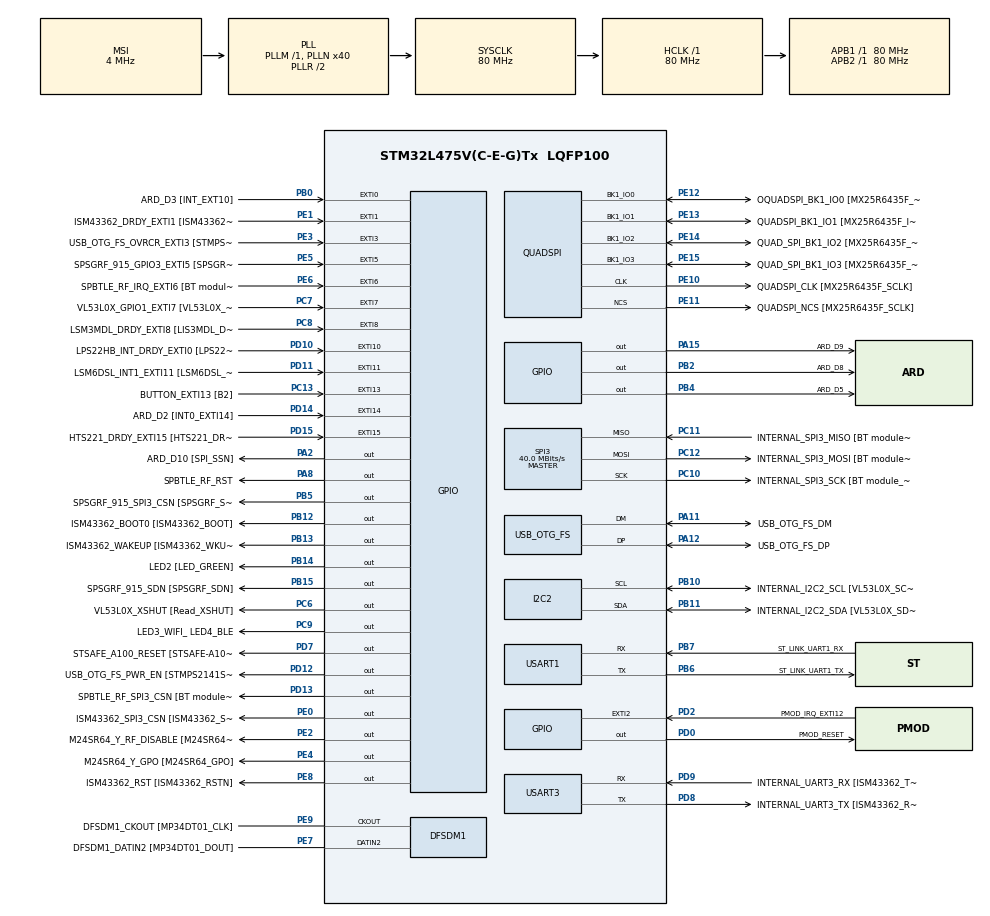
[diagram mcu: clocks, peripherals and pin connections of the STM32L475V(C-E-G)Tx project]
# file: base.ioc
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FREERTOS.Tasks01=defaultTask,24,128,StartDefaultTask,Default,NULL,Dynamic,NULL,NULL
Mcu.Family=STM32L4
Mcu.Name=STM32L475V(C-E-G)Tx
Mcu.Package=LQFP100
NVIC.EXTI15_10_IRQn=true\:0\:0\:false\:false\:true\:false\:true\:true
NVIC.EXTI9_5_IRQn=true\:0\:0\:false\:false\:true\:false\:true\:true
NVIC.PriorityGroup=NVIC_PRIORITYGROUP_4
PA0.GPIO_Label=ARD_D1 [UART4_TX]
PA0.Signal=UART4_TX
PA1.GPIO_Label=ARD_D0 [UART4_RX]
PA1.Signal=UART4_RX
PA10.GPIO_Label=USB_OTG_FS_ID
PA10.Signal=USB_OTG_FS_ID
PA11.GPIO_Label=USB_OTG_FS_DM
PA11.Mode=Device_Only
PA11.Signal=USB_OTG_FS_DM
PA12.GPIO_Label=USB_OTG_FS_DP
PA12.Mode=Device_Only
PA12.Signal=USB_OTG_FS_DP
PA13\ (JTMS-SWDIO).GPIO_Label=SYS_JTMS_SWDIO
PA13\ (JTMS-SWDIO).Mode=Serial_Wire
PA13\ (JTMS-SWDIO).Signal=SYS_JTMS-SWDIO
PA14\ (JTCK-SWCLK).GPIO_Label=SYS_JTCK_SWCLK
PA14\ (JTCK-SWCLK).Mode=Serial_Wire
PA14\ (JTCK-SWCLK).Signal=SYS_JTCK-SWCLK
PA15\ (JTDI).GPIO_Label=ARD_D9
PA15\ (JTDI).Signal=GPIO_Output
PA2.GPIO_Label=ARD_D10 [SPI_SSN]
PA2.Signal=GPIO_Output
PA3.GPIO_Label=ARD_D4
PA3.Signal=S_TIM2_CH4
PA4.GPIO_Label=ARD_D7
PA4.Signal=ADCx_IN9
PA5.GPIO_Label=ARD_D13 [SPI1_SCK]
PA5.Signal=SPI1_SCK
PA6.GPIO_Label=ARD_D12 [SPI1_MISO]
PA6.Signal=SPI1_MISO
PA7.GPIO_Label=ARD_D11 [SPI1_MOSI]
PA7.Signal=SPI1_MOSI
PA8.GPIO_Label=SPBTLE_RF_RST
PA8.Signal=GPIO_Output
PA9.GPIO_Label=USB_OTG_FS_VBUS [STMPS2141STR_OUT]
PA9.Signal=USB_OTG_FS_VBUS
PB0.GPIO_Label=ARD_D3 [INT_EXT10]
PB0.Signal=GPXTI0
PB1.GPIO_Label=ARD_D6 [ADC1_IN6]
PB1.Signal=ADCx_IN16
PB10.GPIO_Label=INTERNAL_I2C2_SCL [VL53L0X_SCL]
PB10.Mode=I2C
PB10.Signal=I2C2_SCL
PB11.GPIO_Label=INTERNAL_I2C2_SDA [VL53L0X_SDA]
PB11.Mode=I2C
PB11.Signal=I2C2_SDA
PB12.GPIO_Label=ISM43362_BOOT0 [ISM43362_BOOT]
PB12.Signal=GPIO_Output
PB13.GPIO_Label=ISM43362_WAKEUP [ISM43362_WKUP]
PB13.Signal=GPIO_Output
PB14.GPIO_Label=LED2 [LED_GREEN]
PB14.Signal=GPIO_Output
PB15.GPIO_Label=SPSGRF_915_SDN [SPSGRF_SDN]
PB15.Signal=GPIO_Output
PB2.GPIO_Label=ARD_D8
PB2.Signal=GPIO_Output
PB3\ (JTDO-TRACESWO).GPIO_Label=SYS_JTD0_SWO
PB3\ (JTDO-TRACESWO).Signal=SYS_JTDO-SWO
PB4\ (NJTRST).GPIO_Label=ARD_D5
PB4\ (NJTRST).Signal=GPIO_Output
PB5.GPIO_Label=SPSGRF_915_SPI3_CSN [SPSGRF_SPI_CS]
PB5.PinState=GPIO_PIN_SET
PB5.Signal=GPIO_Output
PB6.GPIO_Label=ST_LINK_UART1_TX
PB6.Mode=Asynchronous
PB6.Signal=USART1_TX
PB7.GPIO_Label=ST_LINK_UART1_RX
PB7.Mode=Asynchronous
PB7.Signal=USART1_RX
PB8.GPIO_Label=ARD_D15 [I2C1_SCL]
PB8.Signal=I2C1_SCL
PB9.GPIO_Label=ARD_D14 [I2C1_SDA]
PB9.Signal=I2C1_SDA
PC0.GPIO_Label=ARD_A5 [ADC]
PC0.Signal=ADCx_IN1
PC1.GPIO_Label=ARD_A4 [ADC]
PC1.Signal=ADCx_IN2
PC10.GPIO_Label=INTERNAL_SPI3_SCK [BT module_SPI_SCLK] [ISM43362_SCK]
PC10.Mode=Full_Duplex_Master
PC10.Signal=SPI3_SCK
PC11.GPIO_Label=INTERNAL_SPI3_MISO [BT module_SPI_MISO] [ISM43362_MISO]
PC11.Mode=Full_Duplex_Master
PC11.Signal=SPI3_MISO
PC12.GPIO_Label=INTERNAL_SPI3_MOSI [BT module_SPI_MOSI] [ISM43362_MOSI]
PC12.Mode=Full_Duplex_Master
PC12.Signal=SPI3_MOSI
PC13.GPIO_Label=BUTTON_EXTI13 [B2]
PC13.GPIO_ModeDefaultEXTI=GPIO_MODE_IT_FALLING
PC13.Signal=GPXTI13
PC14-OSC32_IN\ (PC14).Mode=LSE-External-Oscillator
PC14-OSC32_IN\ (PC14).Signal=RCC_OSC32_IN
PC15-OSC32_OUT\ (PC15).Mode=LSE-External-Oscillator
PC15-OSC32_OUT\ (PC15).Signal=RCC_OSC32_OUT
PC2.GPIO_Label=ARD_A3 [ADC]
PC2.Signal=ADCx_IN3
PC3.GPIO_Label=ARD_A2 [ADC]
PC3.Signal=ADCx_IN4
PC4.GPIO_Label=ARD_A1 [ADC]
PC4.Signal=ADCx_IN13
PC5.GPIO_Label=ARD_A0 [ADC]
PC5.Signal=ADCx_IN14
PC6.GPIO_Label=VL53L0X_XSHUT [Read_XSHUT]
PC6.Signal=GPIO_Output
PC7.GPIO_Label=VL53L0X_GPIO1_EXTI7 [VL53L0X_GPIO1]
PC7.Signal=GPXTI7
PC8.GPIO_Label=LSM3MDL_DRDY_EXTI8 [LIS3MDL_DRDY]
PC8.Signal=GPXTI8
PC9.GPIO_Label=LED3_WIFI_ LED4_BLE
PC9.Signal=GPIO_Output
PD0.GPIO_Label=PMOD_RESET
PD0.Signal=GPIO_Output
PD1.GPIO_Label=PMOD_SPI2_SCK
PD1.Signal=SPI2_SCK
PD10.GPIO_Label=LPS22HB_INT_DRDY_EXTI0 [LPS22HB_INT_DRDY] 
PD10.Signal=GPXTI10
PD11.GPIO_Label=LSM6DSL_INT1_EXTI11 [LSM6DSL_INT1]
PD11.Signal=GPXTI11
PD12.GPIO_Label=USB_OTG_FS_PWR_EN [STMPS2141STR_EN]
PD12.Signal=GPIO_Output
PD13.GPIO_Label=SPBTLE_RF_SPI3_CSN [BT module_SPI_CS]
PD13.PinState=GPIO_PIN_SET
PD13.Signal=GPIO_Output
PD14.GPIO_Label=ARD_D2 [INT0_EXTI14]
PD14.Signal=GPXTI14
PD15.GPIO_Label=HTS221_DRDY_EXTI15 [HTS221_DRDY]
PD15.Signal=GPXTI15
PD2.GPIO_Label=PMOD_IRQ_EXTI12
PD2.Signal=GPXTI2
PD3.GPIO_Label=PMOD_UART2_CTS
PD3.Signal=USART2_CTS
PD4.GPIO_Label=PMOD_UART2_RTS
PD4.Signal=USART2_RTS
PD5.GPIO_Label=PMOD_UART2_TX
PD5.Signal=USART2_TX
PD6.GPIO_Label=PMOD_UART2_RX
PD6.Signal=USART2_RX
PD7.GPIO_Label=STSAFE_A100_RESET [STSAFE-A100_RESET]
PD7.Signal=GPIO_Output
PD8.GPIO_Label=INTERNAL_UART3_TX [ISM43362_RX]
PD8.Mode=Asynchronous
PD8.Signal=USART3_TX
PD9.GPIO_Label=INTERNAL_UART3_RX [ISM43362_TX]
PD9.Mode=Asynchronous
PD9.Signal=USART3_RX
PE0.GPIO_Label=ISM43362_SPI3_CSN [ISM43362_SSN]
PE0.PinState=GPIO_PIN_SET
PE0.Signal=GPIO_Output
PE1.GPIO_Label=ISM43362_DRDY_EXTI1 [ISM43362_DATARDY]
PE1.Signal=GPXTI1
PE10.GPIO_Label=QUADSPI_CLK [MX25R6435F_SCLK]
PE10.Mode=Single Bank
PE10.Signal=QUADSPI_CLK
PE11.GPIO_Label=QUADSPI_NCS [MX25R6435F_SCLK]
PE11.Mode=Single Bank
PE11.Signal=QUADSPI_NCS
PE12.GPIO_Label=OQUADSPI_BK1_IO0 [MX25R6435F_IO0]
PE12.Mode=Single Bank
PE12.Signal=QUADSPI_BK1_IO0
PE13.GPIO_Label=QUADSPI_BK1_IO1 [MX25R6435F_IO1]
PE13.Mode=Single Bank
PE13.Signal=QUADSPI_BK1_IO1
PE14.GPIO_Label=QUAD_SPI_BK1_IO2 [MX25R6435F_IO2]
PE14.Mode=Single Bank
PE14.Signal=QUADSPI_BK1_IO2
PE15.GPIO_Label=QUAD_SPI_BK1_IO3 [MX25R6435F_IO3]
PE15.Mode=Single Bank
PE15.Signal=QUADSPI_BK1_IO3
PE2.GPIO_Label=M24SR64_Y_RF_DISABLE [M24SR64_RFDIS]
PE2.Signal=GPIO_Output
PE3.GPIO_Label=USB_OTG_FS_OVRCR_EXTI3 [STMPS2141STR_FAULT]
PE3.Signal=GPXTI3
PE4.GPIO_Label=M24SR64_Y_GPO [M24SR64_GPO]
PE4.Signal=GPIO_Output
PE5.GPIO_Label=SPSGRF_915_GPIO3_EXTI5 [SPSGRF_GPIO_3]
PE5.Signal=GPXTI5
PE6.GPIO_Label=SPBTLE_RF_IRQ_EXTI6 [BT module_SPI_IRQ]
PE6.Signal=GPXTI6
PE7.GPIO_Label=DFSDM1_DATIN2 [MP34DT01_DOUT]
PE7.Signal=S_DATAIN2DFSDM1
PE8.GPIO_Label=ISM43362_RST [ISM43362_RSTN]
PE8.Signal=GPIO_Output
PE9.GPIO_Label=DFSDM1_CKOUT [MP34DT01_CLK]
PE9.Signal=S_CKOUTDFSDM1
ProjectManager.HeapSize=0x200
ProjectManager.StackSize=0x400
ProjectManager.TargetToolchain=STM32CubeIDE
RCC.ADCFreq_Value=48000000
RCC.AHBFreq_Value=80000000
RCC.APB1Freq_Value=80000000
RCC.APB1TimFreq_Value=80000000
RCC.APB2Freq_Value=80000000
RCC.APB2TimFreq_Value=80000000
RCC.CortexFreq_Value=80000000
RCC.HCLKFreq_Value=80000000
RCC.HSE_VALUE=8000000
RCC.HSI_VALUE=16000000
RCC.MSI_VALUE=4000000
RCC.PLLN=40
RCC.PLLSAI1N=24
RCC.SYSCLKFreq_VALUE=80000000
RCC.SYSCLKSource=RCC_SYSCLKSOURCE_PLLCLK
RCC.USBFreq_Value=48000000
RCC.VCOOutputFreq_Value=160000000
SH.ADCx_IN1.0=ADC1_IN1
SH.ADCx_IN13.0=ADC1_IN13
SH.ADCx_IN14.0=ADC1_IN14
SH.ADCx_IN16.0=ADC1_IN16
SH.ADCx_IN2.0=ADC1_IN2
SH.ADCx_IN3.0=ADC1_IN3
SH.ADCx_IN4.0=ADC1_IN4
SH.ADCx_IN9.0=ADC1_IN9
SH.S_CKOUTDFSDM1.0=DFSDM1_CKOUT,CKOUT
SH.S_CKOUTDFSDM1.1=DFSDM1_CKOUT,PDM_SPI_Input_from_ch12_and_Internal_Clock
SH.S_DATAIN2DFSDM1.0=DFSDM1_DATIN2,PDM_SPI_Input_from_ch12_and_Internal_Clock
SH.S_TIM2_CH4.0=TIM2_CH4
SPI3.CalculateBaudRate=40.0 MBits/s
SPI3.Direction=SPI_DIRECTION_2LINES
SPI3.Mode=SPI_MODE_MASTER
SPI3.VirtualType=VM_MASTER
USART1.VirtualMode-Asynchronous=VM_ASYNC
USART3.VirtualMode-Asynchronous=VM_ASYNC
USB_OTG_FS.VirtualMode=Device_Only
VP_FREERTOS_VS_CMSIS_V2.Mode=CMSIS_V2
board=B-L475E-IOT01A2

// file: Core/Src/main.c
/* USER CODE BEGIN Header */
/**
  ******************************************************************************
  * @file           : main.c
  * @brief          : Main program body
  ******************************************************************************
  * @attention
  *
  * <h2><center>&copy; Copyright (c) 2020 STMicroelectronics.
  * All rights reserved.</center></h2>
  *
  * This software component is licensed by ST under BSD 3-Clause license,
  * the "License"; You may not use this file except in compliance with the
  * License. You may obtain a copy of the License at:
  *                        opensource.org/licenses/BSD-3-Clause
  *
  ******************************************************************************
  */
/* USER CODE END Header */
#include "main.h"
#include "psw.h"
#include "cmsis_os.h"
#include <stdio.h>
#include <stdlib.h>
#include <string.h>
#include <math.h>
#include "semphr.h"
#include "stm32l475e_iot01.h"
#include "stm32l475e_iot01_tsensor.h"
#include "stm32l475e_iot01_psensor.h"
#include "stm32l475e_iot01_hsensor.h"
/* USER CODE BEGIN Includes */
#define TERMINAL_USE

/* Update SSID and PASSWORD with own Access point settings */

//#define SSID "your SSID"
//#define PASSWORD "your password"

uint8_t RemoteIP[] = {192,168,43,10};
#define RemotePORT	8002

#define WIFI_WRITE_TIMEOUT 10000
#define WIFI_READ_TIMEOUT  10000

#define CONNECTION_TRIAL_MAX          10

#if defined (TERMINAL_USE)
#define TERMOUT(...)  printf(__VA_ARGS__)
#else
#define TERMOUT(...)
#endif

extern I2C_HandleTypeDef hI2cHandler;
VL53L0X_Dev_t Dev =
{
  .I2cHandle = &hI2cHandler,
  .I2cDevAddr = PROXIMITY_I2C_ADDRESS
};

/* Private variables ---------------------------------------------------------*/
#if defined (TERMINAL_USE)
extern UART_HandleTypeDef hDiscoUart;
#endif /* TERMINAL_USE */
static uint8_t RxData [500];

/* Private function prototypes -----------------------------------------------*/
#if defined (TERMINAL_USE)
#ifdef __GNUC__
/* With GCC, small TERMOUT (option LD Linker->Libraries->Small TERMOUT
   set to 'Yes') calls __io_putchar() */
#define PUTCHAR_PROTOTYPE int __io_putchar(int ch)
#else
#define PUTCHAR_PROTOTYPE int fputc(int ch, FILE *f)
#endif /* __GNUC__ */
#endif /* TERMINAL_USE */

static void SystemClock_Config(void);

extern  SPI_HandleTypeDef hspi;

/* Private functions ---------------------------------------------------------*/

/**
  * @brief  Main program
  * @param  None
  * @retval None
  */

extern  SPI_HandleTypeDef hspi;

/* Private functions ---------------------------------------------------------*/

/**
  * @brief  Main program
  * @param  None
  * @retval None
  */
/* USER CODE END Includes */

DFSDM_Channel_HandleTypeDef hdfsdm1_channel1;

I2C_HandleTypeDef hi2c2;

QSPI_HandleTypeDef hqspi;

SPI_HandleTypeDef hspi3;

UART_HandleTypeDef huart1;
UART_HandleTypeDef huart3;

PCD_HandleTypeDef hpcd_USB_OTG_FS;

/* Definitions for serialPrintTask*/

osThreadId_t serialTaskHandle;
const osThreadAttr_t serialTask_attributes = {
  .name = "serialTask",
  .priority = (osPriority_t) osPriorityNormal,
  .stack_size = 512 * 4
};

/* Definitions for statisticsTask*/
osThreadId_t statisticsTaskHandle;
const osThreadAttr_t statisticsTask_attributes = {
  .name = "statisticsTask",
  .priority = (osPriority_t) osPriorityNormal,
  .stack_size = 232 * 4
};

/* Definitions for dewpointTask */
osThreadId_t dewpointTaskHandle;
const osThreadAttr_t dewpointTask_attributes = {
  .name = "dewpointTask",
  .priority = (osPriority_t) osPriorityNormal,
  .stack_size = 232 * 4
};

/* Definitions for wifiTask */
osThreadId_t wifiTaskHandle;
const osThreadAttr_t wifiTask_attributes = {
  .name = "wifiTask",
  .priority = (osPriority_t) osPriorityNormal,
  .stack_size = 232 * 4
};
/* Definitions for sensorsTask */
osThreadId_t sensorsTaskHandle;
const osThreadAttr_t sensorsTask_attributes = {
  .name = "sensorsTask",
  .priority = (osPriority_t) osPriorityNormal,
  .stack_size = 232 * 4
};

/* Definitions for proximityThread */
osThreadId_t proximityThreadHandle;
const osThreadAttr_t proximityThread_attributes = {
  .name = "proximityThread",
  .priority = (osPriority_t) osPriorityNormal,
  .stack_size = 440 * 4
};
/* USER CODE BEGIN PV */

struct sharedValues_t{
int temperature_val1;
int temperature_val2;
float array_temp[5];
float average_temerature;
int n_elements_temp;
int check_mean_temp;
int updated_first;
int updated_second;
int humidity_val1;
int humidity_val2;
float array_humidity[5];
float average_humidity;
int n_elements_humidity;
int check_mean_humidity;

int pressure_val1;
int pressure_val2;
float array_pressure[5];
float average_pressure;
int n_elements_pressure;
int check_mean_pressure;
int WiFi_blocked;

int proximity;
int dewpoint;
int enableDew;

osSemaphoreId_t mutex;
osSemaphoreId_t primo;
osSemaphoreId_t secondo;

}sharedValues;

/* USER CODE END PV */

void SystemClock_Config(void);
static void MX_GPIO_Init(void);
static void MX_DFSDM1_Init(void);
static void MX_I2C2_Init(void);
static void MX_QUADSPI_Init(void);
static void MX_SPI3_Init(void);
static void MX_USART1_UART_Init(void);
static void MX_USART3_UART_Init(void);
static void MX_USB_OTG_FS_PCD_Init(void);

static void VL53L0X_PROXIMITY_MspInit(void);
static uint16_t VL53L0X_PROXIMITY_GetDistance(void);
static void VL53L0X_PROXIMITY_Init(void);

void WiFiConnection(void *arguments);
void PeriodicPrint(void *arguments);
void Proximity_Test(void *arguments);
void StartDewpointTask(void *arguments);
void ComputeStatistics(void *arguments);
void SerialPrint(void *arguments);

/* USER CODE BEGIN 0 */

void inizialize(struct sharedValues_t *sv){

	sv->updated_first=0;
	sv->updated_second=0;
	sv->temperature_val1=0;
	sv->temperature_val2=0;
	sv->average_temerature=0;
	sv->n_elements_temp=0;

	sv->humidity_val1=0;
	sv->humidity_val2=0;
	sv->average_humidity=0;
	sv->n_elements_humidity=0;

	sv->pressure_val1=0;
	sv->pressure_val2=0;
	sv->average_pressure=0;
	sv->n_elements_pressure=0;

	sv->proximity=0;
	sv->dewpoint=0;
	sv->enableDew=0;

	sv->check_mean_temp=0;
	sv->check_mean_humidity=0;
	sv->check_mean_pressure=0;

	sv->WiFi_blocked=0;

	sv->mutex = osSemaphoreNew(1, 1, NULL);
	sv->primo = osSemaphoreNew(1, 1, NULL);
	sv->secondo = osSemaphoreNew(1, 1, NULL);

}

/* USER CODE END 0 */

int main(void)
{
  /* USER CODE BEGIN 1 */

	  /* Reset of all peripherals, Initializes the Flash interface and the Systick. */
	   HAL_Init();

	   /* Configure the system clock */
	   SystemClock_Config();
	   /* Configure LED2 */
	   BSP_LED_Init(LED2);

      /* Configure the User Button in GPIO Mode */
  BSP_PB_Init(BUTTON_USER, BUTTON_MODE_GPIO);

#if defined (TERMINAL_USE)
  /* Initialize all configured peripherals */
  hDiscoUart.Instance = DISCOVERY_COM1;
  hDiscoUart.Init.BaudRate = 115200;
  hDiscoUart.Init.WordLength = UART_WORDLENGTH_8B;
  hDiscoUart.Init.StopBits = UART_STOPBITS_1;
  hDiscoUart.Init.Parity = UART_PARITY_NONE;
  hDiscoUart.Init.Mode = UART_MODE_TX_RX;
  hDiscoUart.Init.HwFlowCtl = UART_HWCONTROL_NONE;
  hDiscoUart.Init.OverSampling = UART_OVERSAMPLING_16;
  hDiscoUart.Init.OneBitSampling = UART_ONE_BIT_SAMPLE_DISABLE;
  hDiscoUart.AdvancedInit.AdvFeatureInit = UART_ADVFEATURE_NO_INIT;

  BSP_COM_Init(COM1, &hDiscoUart);
#endif /* TERMINAL_USE */

		MX_GPIO_Init();
		MX_DFSDM1_Init();
		MX_I2C2_Init();
		MX_QUADSPI_Init();
		MX_SPI3_Init();
		MX_USART1_UART_Init();
		MX_USART3_UART_Init();
		MX_USB_OTG_FS_PCD_Init();
		BSP_TSENSOR_Init();
		BSP_PSENSOR_Init();
		BSP_HSENSOR_Init();
		VL53L0X_PROXIMITY_Init();

	  TERMOUT("****** WIFI Module in TCP Client mode demonstration ****** \n\n");
	  TERMOUT("TCP Client Instructions :\n");
	  TERMOUT("1- Make sure your Phone is connected to the same network that\n");
	  TERMOUT("   you configured using the Configuration Access Point.\n");
	  TERMOUT("2- Create a server by using the android application TCP Server\n");
	  TERMOUT("   with port(8002).\n");
	  TERMOUT("3- Get the Network Name or IP Address of your Android from the step 2.\n\n");

		    /* Init scheduler ----------------------------------------------------------------------------*/
	  osKernelInitialize();

	  /* USER CODE BEGIN RTOS_THREADS */
	  //inizialize the structure
	  inizialize(&sharedValues);

	  wifiTaskHandle = osThreadNew(WiFiConnection, NULL, &wifiTask_attributes);
	  sensorsTaskHandle = osThreadNew(PeriodicPrint, NULL, &sensorsTask_attributes);
	  proximityThreadHandle = osThreadNew(Proximity_Test, NULL, &proximityThread_attributes);
	  dewpointTaskHandle = osThreadNew(StartDewpointTask, NULL, &dewpointTask_attributes);
	  statisticsTaskHandle = osThreadNew(ComputeStatistics, NULL, &statisticsTask_attributes);
	  serialTaskHandle = osThreadNew(SerialPrint, NULL, &serialTask_attributes);

	  /* USER CODE END RTOS_THREADS */

	  /* Start scheduler */
	HAL_GPIO_WritePin(ARD_D8_GPIO_Port, ARD_D8_Pin, GPIO_PIN_SET);
	HAL_GPIO_WritePin(ARD_D9_GPIO_Port, ARD_D9_Pin, GPIO_PIN_SET);//0
	  osKernelStart();

}

void SystemClock_Config(void)
{
  RCC_OscInitTypeDef RCC_OscInitStruct = {0};
  RCC_ClkInitTypeDef RCC_ClkInitStruct = {0};
  RCC_PeriphCLKInitTypeDef PeriphClkInit = {0};

  /** Configure LSE Drive Capability
  */
  HAL_PWR_EnableBkUpAccess();
  __HAL_RCC_LSEDRIVE_CONFIG(RCC_LSEDRIVE_LOW);
  /** Initializes the RCC Oscillators according to the specified parameters
  * in the RCC_OscInitTypeDef structure.
  */
  RCC_OscInitStruct.OscillatorType = RCC_OSCILLATORTYPE_LSE|RCC_OSCILLATORTYPE_MSI;
  RCC_OscInitStruct.LSEState = RCC_LSE_ON;
  RCC_OscInitStruct.MSIState = RCC_MSI_ON;
  RCC_OscInitStruct.MSICalibrationValue = 0;
  RCC_OscInitStruct.MSIClockRange = RCC_MSIRANGE_6;
  RCC_OscInitStruct.PLL.PLLState = RCC_PLL_ON;
  RCC_OscInitStruct.PLL.PLLSource = RCC_PLLSOURCE_MSI;
  RCC_OscInitStruct.PLL.PLLM = 1;
  RCC_OscInitStruct.PLL.PLLN = 40;
  RCC_OscInitStruct.PLL.PLLP = RCC_PLLP_DIV7;
  RCC_OscInitStruct.PLL.PLLQ = RCC_PLLQ_DIV2;
  RCC_OscInitStruct.PLL.PLLR = RCC_PLLR_DIV2;
  if (HAL_RCC_OscConfig(&RCC_OscInitStruct) != HAL_OK)
  {
    Error_Handler();
  }
  /** Initializes the CPU, AHB and APB buses clocks
  */
  RCC_ClkInitStruct.ClockType = RCC_CLOCKTYPE_HCLK|RCC_CLOCKTYPE_SYSCLK
                              |RCC_CLOCKTYPE_PCLK1|RCC_CLOCKTYPE_PCLK2;
  RCC_ClkInitStruct.SYSCLKSource = RCC_SYSCLKSOURCE_PLLCLK;
  RCC_ClkInitStruct.AHBCLKDivider = RCC_SYSCLK_DIV1;
  RCC_ClkInitStruct.APB1CLKDivider = RCC_HCLK_DIV1;
  RCC_ClkInitStruct.APB2CLKDivider = RCC_HCLK_DIV1;

  if (HAL_RCC_ClockConfig(&RCC_ClkInitStruct, FLASH_LATENCY_4) != HAL_OK)
  {
    Error_Handler();
  }
  PeriphClkInit.PeriphClockSelection = RCC_PERIPHCLK_USART1|RCC_PERIPHCLK_USART3
                              |RCC_PERIPHCLK_I2C2|RCC_PERIPHCLK_DFSDM1
                              |RCC_PERIPHCLK_USB;
  PeriphClkInit.Usart1ClockSelection = RCC_USART1CLKSOURCE_PCLK2;
  PeriphClkInit.Usart3ClockSelection = RCC_USART3CLKSOURCE_PCLK1;
  PeriphClkInit.I2c2ClockSelection = RCC_I2C2CLKSOURCE_PCLK1;
  PeriphClkInit.Dfsdm1ClockSelection = RCC_DFSDM1CLKSOURCE_PCLK;
  PeriphClkInit.UsbClockSelection = RCC_USBCLKSOURCE_PLLSAI1;
  PeriphClkInit.PLLSAI1.PLLSAI1Source = RCC_PLLSOURCE_MSI;
  PeriphClkInit.PLLSAI1.PLLSAI1M = 1;
  PeriphClkInit.PLLSAI1.PLLSAI1N = 24;
  PeriphClkInit.PLLSAI1.PLLSAI1P = RCC_PLLP_DIV7;
  PeriphClkInit.PLLSAI1.PLLSAI1Q = RCC_PLLQ_DIV2;
  PeriphClkInit.PLLSAI1.PLLSAI1R = RCC_PLLR_DIV2;
  PeriphClkInit.PLLSAI1.PLLSAI1ClockOut = RCC_PLLSAI1_48M2CLK;
  if (HAL_RCCEx_PeriphCLKConfig(&PeriphClkInit) != HAL_OK)
  {
    Error_Handler();
  }
  /** Configure the main internal regulator output voltage
  */
  if (HAL_PWREx_ControlVoltageScaling(PWR_REGULATOR_VOLTAGE_SCALE1) != HAL_OK)
  {
    Error_Handler();
  }
  /** Enable MSI Auto calibration
  */
  HAL_RCCEx_EnableMSIPLLMode();
}

#if defined (TERMINAL_USE)
/**
  * @brief  Retargets the C library TERMOUT function to the USART.
  * @param  None
  * @retval None
  */
PUTCHAR_PROTOTYPE
{
  /* Place your implementation of fputc here */
  /* e.g. write a character to the USART1 and Loop until the end of transmission */
  HAL_UART_Transmit(&hDiscoUart, (uint8_t *)&ch, 1, 0xFFFF);

  return ch;
}
#endif /* TERMINAL_USE */

static void MX_DFSDM1_Init(void)
{

  hdfsdm1_channel1.Instance = DFSDM1_Channel1;
  hdfsdm1_channel1.Init.OutputClock.Activation = ENABLE;
  hdfsdm1_channel1.Init.OutputClock.Selection = DFSDM_CHANNEL_OUTPUT_CLOCK_SYSTEM;
  hdfsdm1_channel1.Init.OutputClock.Divider = 2;
  hdfsdm1_channel1.Init.Input.Multiplexer = DFSDM_CHANNEL_EXTERNAL_INPUTS;
  hdfsdm1_channel1.Init.Input.DataPacking = DFSDM_CHANNEL_STANDARD_MODE;
  hdfsdm1_channel1.Init.Input.Pins = DFSDM_CHANNEL_FOLLOWING_CHANNEL_PINS;
  hdfsdm1_channel1.Init.SerialInterface.Type = DFSDM_CHANNEL_SPI_RISING;
  hdfsdm1_channel1.Init.SerialInterface.SpiClock = DFSDM_CHANNEL_SPI_CLOCK_INTERNAL;
  hdfsdm1_channel1.Init.Awd.FilterOrder = DFSDM_CHANNEL_FASTSINC_ORDER;
  hdfsdm1_channel1.Init.Awd.Oversampling = 1;
  hdfsdm1_channel1.Init.Offset = 0;
  hdfsdm1_channel1.Init.RightBitShift = 0x00;
  if (HAL_DFSDM_ChannelInit(&hdfsdm1_channel1) != HAL_OK)
  {
    Error_Handler();
  }

}

static void MX_I2C2_Init(void)
{

  hi2c2.Instance = I2C2;
  hi2c2.Init.Timing = 0x10909CEC;
  hi2c2.Init.OwnAddress1 = 0;
  hi2c2.Init.AddressingMode = I2C_ADDRESSINGMODE_7BIT;
  hi2c2.Init.DualAddressMode = I2C_DUALADDRESS_DISABLE;
  hi2c2.Init.OwnAddress2 = 0;
  hi2c2.Init.OwnAddress2Masks = I2C_OA2_NOMASK;
  hi2c2.Init.GeneralCallMode = I2C_GENERALCALL_DISABLE;
  hi2c2.Init.NoStretchMode = I2C_NOSTRETCH_DISABLE;
  if (HAL_I2C_Init(&hi2c2) != HAL_OK)
  {
    Error_Handler();
  }
  /** Configure Analogue filter
  */
  if (HAL_I2CEx_ConfigAnalogFilter(&hi2c2, I2C_ANALOGFILTER_ENABLE) != HAL_OK)
  {
    Error_Handler();
  }
  /** Configure Digital filter
  */
  if (HAL_I2CEx_ConfigDigitalFilter(&hi2c2, 0) != HAL_OK)
  {
    Error_Handler();
  }

}

static void MX_QUADSPI_Init(void)
{

  /* QUADSPI parameter configuration*/
  hqspi.Instance = QUADSPI;
  hqspi.Init.ClockPrescaler = 255;
  hqspi.Init.FifoThreshold = 1;
  hqspi.Init.SampleShifting = QSPI_SAMPLE_SHIFTING_NONE;
  hqspi.Init.FlashSize = 1;
  hqspi.Init.ChipSelectHighTime = QSPI_CS_HIGH_TIME_1_CYCLE;
  hqspi.Init.ClockMode = QSPI_CLOCK_MODE_0;
  if (HAL_QSPI_Init(&hqspi) != HAL_OK)
  {
    Error_Handler();
  }

}

static void MX_SPI3_Init(void)
{

  /* SPI3 parameter configuration*/
  hspi3.Instance = SPI3;
  hspi3.Init.Mode = SPI_MODE_MASTER;
  hspi3.Init.Direction = SPI_DIRECTION_2LINES;
  hspi3.Init.DataSize = SPI_DATASIZE_4BIT;
  hspi3.Init.CLKPolarity = SPI_POLARITY_LOW;
  hspi3.Init.CLKPhase = SPI_PHASE_1EDGE;
  hspi3.Init.NSS = SPI_NSS_SOFT;
  hspi3.Init.BaudRatePrescaler = SPI_BAUDRATEPRESCALER_2;
  hspi3.Init.FirstBit = SPI_FIRSTBIT_MSB;
  hspi3.Init.TIMode = SPI_TIMODE_DISABLE;
  hspi3.Init.CRCCalculation = SPI_CRCCALCULATION_DISABLE;
  hspi3.Init.CRCPolynomial = 7;
  hspi3.Init.CRCLength = SPI_CRC_LENGTH_DATASIZE;
  hspi3.Init.NSSPMode = SPI_NSS_PULSE_ENABLE;
  if (HAL_SPI_Init(&hspi3) != HAL_OK)
  {
    Error_Handler();
  }

}

static void MX_USART1_UART_Init(void)
{

  huart1.Instance = USART1;
  huart1.Init.BaudRate = 115200;
  huart1.Init.WordLength = UART_WORDLENGTH_8B;
  huart1.Init.StopBits = UART_STOPBITS_1;
  huart1.Init.Parity = UART_PARITY_NONE;
  huart1.Init.Mode = UART_MODE_TX_RX;
  huart1.Init.HwFlowCtl = UART_HWCONTROL_NONE;
  huart1.Init.OverSampling = UART_OVERSAMPLING_16;
  huart1.Init.OneBitSampling = UART_ONE_BIT_SAMPLE_DISABLE;
  huart1.AdvancedInit.AdvFeatureInit = UART_ADVFEATURE_NO_INIT;
  if (HAL_UART_Init(&huart1) != HAL_OK)
  {
    Error_Handler();
  }

}

static void MX_USART3_UART_Init(void)
{

  huart3.Instance = USART3;
  huart3.Init.BaudRate = 115200;
  huart3.Init.WordLength = UART_WORDLENGTH_8B;
  huart3.Init.StopBits = UART_STOPBITS_1;
  huart3.Init.Parity = UART_PARITY_NONE;
  huart3.Init.Mode = UART_MODE_TX_RX;
  huart3.Init.HwFlowCtl = UART_HWCONTROL_NONE;
  huart3.Init.OverSampling = UART_OVERSAMPLING_16;
  huart3.Init.OneBitSampling = UART_ONE_BIT_SAMPLE_DISABLE;
  huart3.AdvancedInit.AdvFeatureInit = UART_ADVFEATURE_NO_INIT;
  if (HAL_UART_Init(&huart3) != HAL_OK)
  {
    Error_Handler();
  }

}

static void MX_USB_OTG_FS_PCD_Init(void)
{

  hpcd_USB_OTG_FS.Instance = USB_OTG_FS;
  hpcd_USB_OTG_FS.Init.dev_endpoints = 6;
  hpcd_USB_OTG_FS.Init.speed = PCD_SPEED_FULL;
  hpcd_USB_OTG_FS.Init.phy_itface = PCD_PHY_EMBEDDED;
  hpcd_USB_OTG_FS.Init.Sof_enable = DISABLE;
  hpcd_USB_OTG_FS.Init.low_power_enable = DISABLE;
  hpcd_USB_OTG_FS.Init.lpm_enable = DISABLE;
  hpcd_USB_OTG_FS.Init.battery_charging_enable = DISABLE;
  hpcd_USB_OTG_FS.Init.use_dedicated_ep1 = DISABLE;
  hpcd_USB_OTG_FS.Init.vbus_sensing_enable = DISABLE;
  if (HAL_PCD_Init(&hpcd_USB_OTG_FS) != HAL_OK)
  {
    Error_Handler();
  }

}

static void MX_GPIO_Init(void)
{
  GPIO_InitTypeDef GPIO_InitStruct = {0};

  /* GPIO Ports Clock Enable */
  __HAL_RCC_GPIOE_CLK_ENABLE();
  __HAL_RCC_GPIOC_CLK_ENABLE();
  __HAL_RCC_GPIOA_CLK_ENABLE();
  __HAL_RCC_GPIOB_CLK_ENABLE();
  __HAL_RCC_GPIOD_CLK_ENABLE();

  /*Configure GPIO pin Output Level */
  HAL_GPIO_WritePin(GPIOE, M24SR64_Y_RF_DISABLE_Pin|M24SR64_Y_GPO_Pin|ISM43362_RST_Pin, GPIO_PIN_RESET);

  /*Configure GPIO pin Output Level */
  HAL_GPIO_WritePin(GPIOA, ARD_D10_Pin|SPBTLE_RF_RST_Pin|ARD_D9_Pin, GPIO_PIN_RESET);

  /*Configure GPIO pin Output Level */
  HAL_GPIO_WritePin(GPIOB, ARD_D8_Pin|ISM43362_BOOT0_Pin|ISM43362_WAKEUP_Pin|LED2_Pin
                          |SPSGRF_915_SDN_Pin|ARD_D5_Pin, GPIO_PIN_RESET);

  /*Configure GPIO pin Output Level */
  HAL_GPIO_WritePin(GPIOD, USB_OTG_FS_PWR_EN_Pin|PMOD_RESET_Pin|STSAFE_A100_RESET_Pin, GPIO_PIN_RESET);

  /*Configure GPIO pin Output Level */
  HAL_GPIO_WritePin(SPBTLE_RF_SPI3_CSN_GPIO_Port, SPBTLE_RF_SPI3_CSN_Pin, GPIO_PIN_SET);

  /*Configure GPIO pin Output Level */
  HAL_GPIO_WritePin(GPIOC, VL53L0X_XSHUT_Pin|LED3_WIFI__LED4_BLE_Pin, GPIO_PIN_RESET);

  /*Configure GPIO pin Output Level */
  HAL_GPIO_WritePin(SPSGRF_915_SPI3_CSN_GPIO_Port, SPSGRF_915_SPI3_CSN_Pin, GPIO_PIN_SET);

  /*Configure GPIO pin Output Level */
  HAL_GPIO_WritePin(ISM43362_SPI3_CSN_GPIO_Port, ISM43362_SPI3_CSN_Pin, GPIO_PIN_SET);

  /*Configure GPIO pins : M24SR64_Y_RF_DISABLE_Pin M24SR64_Y_GPO_Pin ISM43362_RST_Pin ISM43362_SPI3_CSN_Pin */
  GPIO_InitStruct.Pin = M24SR64_Y_RF_DISABLE_Pin|M24SR64_Y_GPO_Pin|ISM43362_RST_Pin|ISM43362_SPI3_CSN_Pin;
  GPIO_InitStruct.Mode = GPIO_MODE_OUTPUT_PP;
  GPIO_InitStruct.Pull = GPIO_NOPULL;
  GPIO_InitStruct.Speed = GPIO_SPEED_FREQ_LOW;
  HAL_GPIO_Init(GPIOE, &GPIO_InitStruct);

  /*Configure GPIO pins : USB_OTG_FS_OVRCR_EXTI3_Pin SPSGRF_915_GPIO3_EXTI5_Pin SPBTLE_RF_IRQ_EXTI6_Pin ISM43362_DRDY_EXTI1_Pin */
  GPIO_InitStruct.Pin = USB_OTG_FS_OVRCR_EXTI3_Pin|SPSGRF_915_GPIO3_EXTI5_Pin|SPBTLE_RF_IRQ_EXTI6_Pin|ISM43362_DRDY_EXTI1_Pin;
  GPIO_InitStruct.Mode = GPIO_MODE_IT_RISING;
  GPIO_InitStruct.Pull = GPIO_NOPULL;
  HAL_GPIO_Init(GPIOE, &GPIO_InitStruct);

  /*Configure GPIO pin : BUTTON_EXTI13_Pin */
  GPIO_InitStruct.Pin = BUTTON_EXTI13_Pin;
  GPIO_InitStruct.Mode = GPIO_MODE_IT_FALLING;
  GPIO_InitStruct.Pull = GPIO_NOPULL;
  HAL_GPIO_Init(BUTTON_EXTI13_GPIO_Port, &GPIO_InitStruct);

  /*Configure GPIO pins : ARD_A5_Pin ARD_A4_Pin ARD_A3_Pin ARD_A2_Pin
                           ARD_A1_Pin ARD_A0_Pin */
  GPIO_InitStruct.Pin = ARD_A5_Pin|ARD_A4_Pin|ARD_A3_Pin|ARD_A2_Pin
                          |ARD_A1_Pin|ARD_A0_Pin;
  GPIO_InitStruct.Mode = GPIO_MODE_ANALOG_ADC_CONTROL;
  GPIO_InitStruct.Pull = GPIO_NOPULL;
  HAL_GPIO_Init(GPIOC, &GPIO_InitStruct);

  /*Configure GPIO pins : ARD_D1_Pin ARD_D0_Pin */
  GPIO_InitStruct.Pin = ARD_D1_Pin|ARD_D0_Pin;
  GPIO_InitStruct.Mode = GPIO_MODE_AF_PP;
  GPIO_InitStruct.Pull = GPIO_NOPULL;
  GPIO_InitStruct.Speed = GPIO_SPEED_FREQ_VERY_HIGH;
  GPIO_InitStruct.Alternate = GPIO_AF8_UART4;
  HAL_GPIO_Init(GPIOA, &GPIO_InitStruct);

  /*Configure GPIO pins : ARD_D10_Pin SPBTLE_RF_RST_Pin ARD_D9_Pin */
  GPIO_InitStruct.Pin = ARD_D10_Pin|SPBTLE_RF_RST_Pin|ARD_D9_Pin;
  GPIO_InitStruct.Mode = GPIO_MODE_OUTPUT_PP;
  GPIO_InitStruct.Pull = GPIO_NOPULL;
  GPIO_InitStruct.Speed = GPIO_SPEED_FREQ_LOW;
  HAL_GPIO_Init(GPIOA, &GPIO_InitStruct);

  /*Configure GPIO pin : ARD_D4_Pin */
  GPIO_InitStruct.Pin = ARD_D4_Pin;
  GPIO_InitStruct.Mode = GPIO_MODE_AF_PP;
  GPIO_InitStruct.Pull = GPIO_NOPULL;
  GPIO_InitStruct.Speed = GPIO_SPEED_FREQ_LOW;
  GPIO_InitStruct.Alternate = GPIO_AF1_TIM2;
  HAL_GPIO_Init(ARD_D4_GPIO_Port, &GPIO_InitStruct);

  /*Configure GPIO pin : ARD_D7_Pin */
  GPIO_InitStruct.Pin = ARD_D7_Pin;
  GPIO_InitStruct.Mode = GPIO_MODE_ANALOG_ADC_CONTROL;
  GPIO_InitStruct.Pull = GPIO_NOPULL;
  HAL_GPIO_Init(ARD_D7_GPIO_Port, &GPIO_InitStruct);

  /*Configure GPIO pins : ARD_D13_Pin ARD_D12_Pin ARD_D11_Pin */
  GPIO_InitStruct.Pin = ARD_D13_Pin|ARD_D12_Pin|ARD_D11_Pin;
  GPIO_InitStruct.Mode = GPIO_MODE_AF_PP;
  GPIO_InitStruct.Pull = GPIO_NOPULL;
  GPIO_InitStruct.Speed = GPIO_SPEED_FREQ_VERY_HIGH;
  GPIO_InitStruct.Alternate = GPIO_AF5_SPI1;
  HAL_GPIO_Init(GPIOA, &GPIO_InitStruct);

  /*Configure GPIO pin : ARD_D3_Pin */
  GPIO_InitStruct.Pin = ARD_D3_Pin;
  GPIO_InitStruct.Mode = GPIO_MODE_IT_RISING;
  GPIO_InitStruct.Pull = GPIO_NOPULL;
  HAL_GPIO_Init(ARD_D3_GPIO_Port, &GPIO_InitStruct);

  /*Configure GPIO pin : ARD_D6_Pin */
  GPIO_InitStruct.Pin = ARD_D6_Pin;
  GPIO_InitStruct.Mode = GPIO_MODE_ANALOG_ADC_CONTROL;
  GPIO_InitStruct.Pull = GPIO_NOPULL;
  HAL_GPIO_Init(ARD_D6_GPIO_Port, &GPIO_InitStruct);

  /*Configure GPIO pins : ARD_D8_Pin ISM43362_BOOT0_Pin ISM43362_WAKEUP_Pin LED2_Pin
                           SPSGRF_915_SDN_Pin ARD_D5_Pin SPSGRF_915_SPI3_CSN_Pin */
  GPIO_InitStruct.Pin = ARD_D8_Pin|ISM43362_BOOT0_Pin|ISM43362_WAKEUP_Pin|LED2_Pin
                          |SPSGRF_915_SDN_Pin|ARD_D5_Pin|SPSGRF_915_SPI3_CSN_Pin;
  GPIO_InitStruct.Mode = GPIO_MODE_OUTPUT_PP;
  GPIO_InitStruct.Pull = GPIO_NOPULL;
  GPIO_InitStruct.Speed = GPIO_SPEED_FREQ_LOW;
  HAL_GPIO_Init(GPIOB, &GPIO_InitStruct);

  /*Configure GPIO pins : LPS22HB_INT_DRDY_EXTI0_Pin LSM6DSL_INT1_EXTI11_Pin ARD_D2_Pin HTS221_DRDY_EXTI15_Pin
                           PMOD_IRQ_EXTI12_Pin */
  GPIO_InitStruct.Pin = LPS22HB_INT_DRDY_EXTI0_Pin|LSM6DSL_INT1_EXTI11_Pin|ARD_D2_Pin|HTS221_DRDY_EXTI15_Pin
                          |PMOD_IRQ_EXTI12_Pin;
  GPIO_InitStruct.Mode = GPIO_MODE_IT_RISING;
  GPIO_InitStruct.Pull = GPIO_NOPULL;
  HAL_GPIO_Init(GPIOD, &GPIO_InitStruct);

  /*Configure GPIO pins : USB_OTG_FS_PWR_EN_Pin SPBTLE_RF_SPI3_CSN_Pin PMOD_RESET_Pin STSAFE_A100_RESET_Pin */
  GPIO_InitStruct.Pin = USB_OTG_FS_PWR_EN_Pin|SPBTLE_RF_SPI3_CSN_Pin|PMOD_RESET_Pin|STSAFE_A100_RESET_Pin;
  GPIO_InitStruct.Mode = GPIO_MODE_OUTPUT_PP;
  GPIO_InitStruct.Pull = GPIO_NOPULL;
  GPIO_InitStruct.Speed = GPIO_SPEED_FREQ_LOW;
  HAL_GPIO_Init(GPIOD, &GPIO_InitStruct);

  /*Configure GPIO pins : VL53L0X_XSHUT_Pin LED3_WIFI__LED4_BLE_Pin */
  GPIO_InitStruct.Pin = VL53L0X_XSHUT_Pin|LED3_WIFI__LED4_BLE_Pin;
  GPIO_InitStruct.Mode = GPIO_MODE_OUTPUT_PP;
  GPIO_InitStruct.Pull = GPIO_NOPULL;
  GPIO_InitStruct.Speed = GPIO_SPEED_FREQ_LOW;
  HAL_GPIO_Init(GPIOC, &GPIO_InitStruct);

  /*Configure GPIO pins : VL53L0X_GPIO1_EXTI7_Pin LSM3MDL_DRDY_EXTI8_Pin */
  GPIO_InitStruct.Pin = VL53L0X_GPIO1_EXTI7_Pin|LSM3MDL_DRDY_EXTI8_Pin;
  GPIO_InitStruct.Mode = GPIO_MODE_IT_RISING;
  GPIO_InitStruct.Pull = GPIO_NOPULL;
  HAL_GPIO_Init(GPIOC, &GPIO_InitStruct);

  /*Configure GPIO pin : PMOD_SPI2_SCK_Pin */
  GPIO_InitStruct.Pin = PMOD_SPI2_SCK_Pin;
  GPIO_InitStruct.Mode = GPIO_MODE_AF_PP;
  GPIO_InitStruct.Pull = GPIO_NOPULL;
  GPIO_InitStruct.Speed = GPIO_SPEED_FREQ_VERY_HIGH;
  GPIO_InitStruct.Alternate = GPIO_AF5_SPI2;
  HAL_GPIO_Init(PMOD_SPI2_SCK_GPIO_Port, &GPIO_InitStruct);

  /*Configure GPIO pins : PMOD_UART2_CTS_Pin PMOD_UART2_RTS_Pin PMOD_UART2_TX_Pin PMOD_UART2_RX_Pin */
  GPIO_InitStruct.Pin = PMOD_UART2_CTS_Pin|PMOD_UART2_RTS_Pin|PMOD_UART2_TX_Pin|PMOD_UART2_RX_Pin;
  GPIO_InitStruct.Mode = GPIO_MODE_AF_PP;
  GPIO_InitStruct.Pull = GPIO_NOPULL;
  GPIO_InitStruct.Speed = GPIO_SPEED_FREQ_VERY_HIGH;
  GPIO_InitStruct.Alternate = GPIO_AF7_USART2;
  HAL_GPIO_Init(GPIOD, &GPIO_InitStruct);

  /*Configure GPIO pins : ARD_D15_Pin ARD_D14_Pin */
  GPIO_InitStruct.Pin = ARD_D15_Pin|ARD_D14_Pin;
  GPIO_InitStruct.Mode = GPIO_MODE_AF_OD;
  GPIO_InitStruct.Pull = GPIO_PULLUP;
  GPIO_InitStruct.Speed = GPIO_SPEED_FREQ_VERY_HIGH;
  GPIO_InitStruct.Alternate = GPIO_AF4_I2C1;
  HAL_GPIO_Init(GPIOB, &GPIO_InitStruct);

  /* EXTI interrupt init*/
  HAL_NVIC_SetPriority(EXTI9_5_IRQn, 0, 0);
  HAL_NVIC_EnableIRQ(EXTI9_5_IRQn);

  HAL_NVIC_SetPriority(EXTI15_10_IRQn, 0, 0);
  HAL_NVIC_EnableIRQ(EXTI15_10_IRQn);

}

static void VL53L0X_PROXIMITY_Init(void)
{
  uint16_t vl53l0x_id = 0;
  VL53L0X_DeviceInfo_t VL53L0X_DeviceInfo;

  /* Initialize IO interface */
  SENSOR_IO_Init();
  VL53L0X_PROXIMITY_MspInit();

  memset(&VL53L0X_DeviceInfo, 0, sizeof(VL53L0X_DeviceInfo_t));

  if (VL53L0X_ERROR_NONE == VL53L0X_GetDeviceInfo(&Dev, &VL53L0X_DeviceInfo))
  {
    if (VL53L0X_ERROR_NONE == VL53L0X_RdWord(&Dev, VL53L0X_REG_IDENTIFICATION_MODEL_ID, (uint16_t *) &vl53l0x_id))
    {
      if (vl53l0x_id == VL53L0X_ID)
      {
        if (VL53L0X_ERROR_NONE == VL53L0X_DataInit(&Dev))
        {
          Dev.Present = 1;
          SetupSingleShot(Dev);
        }
        else
        {
          printf("VL53L0X Time of Flight Failed to send its ID!\n");
        }
      }
    }
    else
    {
      printf("VL53L0X Time of Flight Failed to Initialize!\n");
    }
  }
  else
  {
    printf("VL53L0X Time of Flight Failed to get infos!\n");
  }
}

/**
  * @brief  Get distance from VL53L0X proximity sensor.
  * @retval Distance in mm
  */
static uint16_t VL53L0X_PROXIMITY_GetDistance(void)
{
  VL53L0X_RangingMeasurementData_t RangingMeasurementData;

  VL53L0X_PerformSingleRangingMeasurement(&Dev, &RangingMeasurementData);

  return RangingMeasurementData.RangeMilliMeter;
}

static void VL53L0X_PROXIMITY_MspInit(void)
{
  GPIO_InitTypeDef GPIO_InitStruct;

  /*Configure GPIO pin : VL53L0X_XSHUT_Pin */
  GPIO_InitStruct.Pin = VL53L0X_XSHUT_Pin;
  GPIO_InitStruct.Mode = GPIO_MODE_OUTPUT_PP;
  GPIO_InitStruct.Pull = GPIO_PULLUP;
  GPIO_InitStruct.Speed = GPIO_SPEED_FREQ_HIGH;
  HAL_GPIO_Init(VL53L0X_XSHUT_GPIO_Port, &GPIO_InitStruct);

  HAL_GPIO_WritePin(VL53L0X_XSHUT_GPIO_Port, VL53L0X_XSHUT_Pin, GPIO_PIN_SET);

  HAL_Delay(1000);
}

int controlla_valori_telefono(struct sharedValues_t *sv, int32_t Socket){
	uint8_t TxData[] = "STM32 : Hello device!\n";
	int32_t ret;
	uint16_t Datalen;
	char text[30];

	while(1){

		//bloccante
		  ret = WIFI_ReceiveData(Socket, RxData, sizeof(RxData)-1, &Datalen, WIFI_READ_TIMEOUT);

		  if(ret == WIFI_STATUS_OK){

			if(Datalen > 0){
				osSemaphoreAcquire(sv->mutex, portMAX_DELAY);
				  RxData[Datalen]=0;

				  int ritorno = atoi(RxData);

				  if(ritorno==45){
					  TERMOUT("Il telefono è connesso al Wifi (tasto premuto)\n");
					  ret = WIFI_SendData(Socket, TxData, sizeof(TxData), &Datalen, WIFI_WRITE_TIMEOUT);
				  }

				  //PROXIMITY
				  if(ritorno == 0){
					  TERMOUT("Richiesta valore prossimità\n");
					  snprintf(text, 30, "Proximity value: %d mm\n", sv->proximity); // puts string into buffer
					  //TERMOUT("---text :%s\n",text);
					  ret = WIFI_SendData(Socket, text, sizeof(text), &Datalen, WIFI_WRITE_TIMEOUT);

				  }

				  //TEMPERATURE
				  if(ritorno==1){
					  TERMOUT("Richiesta valore temperature\n");
					  snprintf(text,30," Temperature = %d.%02d °C\n\r", sv->temperature_val1, sv->temperature_val2);
					  ret = WIFI_SendData(Socket, text, sizeof(text), &Datalen, WIFI_WRITE_TIMEOUT);
				  }

				  //HUMIDITY
				  if(ritorno==2){
					  TERMOUT("Richiesta valore umidità\n");
					  snprintf(text,30," Humidity = %d.%02d %%\n\r", sv->humidity_val1, sv->humidity_val2);
					  ret = WIFI_SendData(Socket, text, sizeof(text), &Datalen, WIFI_WRITE_TIMEOUT);
				  }

				  //PRESSSURE 1mBar = 1hPa (100Pa)
				  if(ritorno==3){
					  TERMOUT("Richiesta valore pressione\n");
					  snprintf(text,30," Pressure = %d.%02d hPa\n\r", sv->pressure_val1, sv->pressure_val2);
					  ret = WIFI_SendData(Socket, text, sizeof(text), &Datalen, WIFI_WRITE_TIMEOUT);
				  }

				  if(ritorno==4){
					  snprintf(text,30," Dewpoint = %d\n\r", sv->dewpoint);
					  ret = WIFI_SendData(Socket, text, sizeof(text), &Datalen, WIFI_WRITE_TIMEOUT);

				  }
				  sv->WiFi_blocked=0;
				  osSemaphoreRelease(sv->mutex);
				  //if we had any problems the mutex won't be used
				  if (ret != WIFI_STATUS_OK){
					TERMOUT("> ERROR : Failed to Send Data, connection closed\n");
					 HAL_GPIO_WritePin(ARD_D9_GPIO_Port, ARD_D9_Pin, GPIO_PIN_SET);//0

					break;
				  }
				}
			else{
				//Wifi not used for a long time
				osSemaphoreAcquire(sv->mutex, portMAX_DELAY);
				sv->WiFi_blocked++;
				TERMOUT("Timeout n°%d\n",sv->WiFi_blocked);

				if(sv->WiFi_blocked==3){
					HAL_GPIO_WritePin(ARD_D9_GPIO_Port, ARD_D9_Pin, GPIO_PIN_SET);
					TERMOUT("> ERROR : no data received for a long time\n");
					sv->WiFi_blocked=0;
					osSemaphoreRelease(sv->mutex);
					break;
				}
				osSemaphoreRelease(sv->mutex);
			}

		  }
		  else
		  {
			TERMOUT("> ERROR : Failed to Receive Data, connection closed\n");
			 HAL_GPIO_WritePin(ARD_D9_GPIO_Port, ARD_D9_Pin, GPIO_PIN_SET);//0
			 break;
		  }

		  HAL_Delay(500);
	}

		  return 1;
}

/* USER CODE END Header_WiFiConnection */

//Cerca di instaurare una connessione WiFi
void WiFiConnection(void *arguments)
{

	while(1){
			uint8_t  MAC_Addr[6];
			uint8_t  IP_Addr[4];

			int32_t Socket = -1;

			int16_t Trials = CONNECTION_TRIAL_MAX;

			/*Initialize  WIFI module */
			  if(WIFI_Init() ==  WIFI_STATUS_OK)
			  {
					TERMOUT("> WIFI Module Initialized.\n");
					if(WIFI_GetMAC_Address(MAC_Addr) == WIFI_STATUS_OK)
					{
					  TERMOUT("> es-wifi module MAC Address : %X:%X:%X:%X:%X:%X\n",
							   MAC_Addr[0],
							   MAC_Addr[1],
							   MAC_Addr[2],
							   MAC_Addr[3],
							   MAC_Addr[4],
							   MAC_Addr[5]);
					}
					else
					{
					  TERMOUT("> ERROR : CANNOT get MAC address\n");
					  BSP_LED_On(LED2);
					}

					if( WIFI_Connect(SSID, PASSWORD, WIFI_ECN_WPA2_PSK) == WIFI_STATUS_OK)
					{
					  TERMOUT("> es-wifi module connected \n");
					  if(WIFI_GetIP_Address(IP_Addr) == WIFI_STATUS_OK)
					  {
						TERMOUT("> es-wifi module got IP Address : %d.%d.%d.%d\n",
							   IP_Addr[0],
							   IP_Addr[1],
							   IP_Addr[2],
							   IP_Addr[3]);

						TERMOUT("> Trying to connect to Server: %d.%d.%d.%d:%d ...\n",
							   RemoteIP[0],
							   RemoteIP[1],
							   RemoteIP[2],
							   RemoteIP[3],
											 RemotePORT);

						while (Trials--)
						{
						  if( WIFI_OpenClientConnection(0, WIFI_TCP_PROTOCOL, "TCP_CLIENT", RemoteIP, RemotePORT, 0) == WIFI_STATUS_OK)
						  {
							TERMOUT("> TCP Connection opened successfully.\n");
							Socket = 0;
							 HAL_GPIO_WritePin(ARD_D9_GPIO_Port, ARD_D9_Pin, GPIO_PIN_RESET);
							break;
						  }

						}
						if(Socket == -1)
						{
						  TERMOUT("> ERROR : Cannot open Connection\n");
						  BSP_LED_On(LED2);
						}
					  }
					  else
					  {
						TERMOUT("> ERROR : es-wifi module CANNOT get IP address\n");
						BSP_LED_On(LED2);
					  }
					}
					else
					{
					  TERMOUT("> ERROR : es-wifi module NOT connected\n");
					  BSP_LED_On(LED2);
					}
			  }
			  else
			  {
				TERMOUT("> ERROR : WIFI Module cannot be initialized.\n");
				BSP_LED_On(LED2);
			  }

		//connessione avvenuta
		if(Socket!=-1){
			int error_connession=0;
			for(;;){

				error_connession = controlla_valori_telefono(&sharedValues,Socket);

				//if we have an error after reaching the connection, we try to connect the board again
				//it will always be 1
				if(error_connession==1){
					//wait 3 seconds and try to connect to the device again
					HAL_Delay(3000);
					break;
				}

			}
		}

	//wait 4 seconds and try to connect to the device again
	HAL_Delay(4000);
	}
}

//Stampa su seriale i valori acquisiti dai sensori e le statistiche effettuate
void print_Values_UART(struct sharedValues_t *sv){
	 osSemaphoreAcquire(sv->mutex, portMAX_DELAY);

		float temperature,humidity,pressure;
		float separa = 0;
		int val1,val2;

		temperature = BSP_TSENSOR_ReadTemp();
		humidity = BSP_HSENSOR_ReadHumidity();
		pressure = BSP_PSENSOR_ReadPressure();

		if(temperature>27){
			HAL_GPIO_WritePin(ARD_D5_GPIO_Port, ARD_D5_Pin, GPIO_PIN_SET);
			HAL_GPIO_WritePin(ARD_D10_GPIO_Port, ARD_D10_Pin, GPIO_PIN_SET);
		}
		else{
			HAL_GPIO_WritePin(ARD_D5_GPIO_Port, ARD_D5_Pin, GPIO_PIN_RESET);
			HAL_GPIO_WritePin(ARD_D10_GPIO_Port, ARD_D10_Pin, GPIO_PIN_RESET);
		}
//temperature
		val1 = temperature;
		separa = temperature - val1;
		val2 = trunc(separa * 100);
		sv->temperature_val1 = val1;
		sv->temperature_val2 = val2;
		if(sv->n_elements_temp<5){
			sv->array_temp[sv->n_elements_temp]=temperature;
			sv->n_elements_temp += 1;

		}

//humidity
		val1 = humidity;
		separa = humidity - val1;
		val2 = trunc(separa * 100);
		sv->humidity_val1 = val1;
		sv->humidity_val2 = val2;
		if(sv->n_elements_humidity<5){
			sv->array_humidity[sv->n_elements_humidity]=humidity;
			sv->n_elements_humidity +=1;
		}

//pressure
		val1 = pressure;
		separa = pressure - val1;
		val2 = trunc(separa * 100);
		sv->pressure_val1 = val1;
		sv->pressure_val2 = val2;
		if(sv->n_elements_pressure<5){
			sv->array_pressure[sv->n_elements_pressure]=pressure;
			sv->n_elements_pressure +=1;
		}

		if(sv->updated_first==0)
			sv->updated_first=1;
	  osSemaphoreRelease(sv->mutex);

}

void PeriodicPrint(void *arguments)
{
  /* USER CODE BEGIN PeriodicPrint */
  /* Infinite loop */
  for(;;)
  {
	  print_Values_UART(&sharedValues);
	  osDelay(500);
  }
  /* USER CODE END PeriodicPrint */
}

void update_Proximity(struct sharedValues_t *sv){
	uint16_t prox_value;

	//prendo il mutex
	osSemaphoreAcquire(sv->mutex, portMAX_DELAY);

	prox_value = VL53L0X_PROXIMITY_GetDistance();
	sv->proximity = prox_value;

	if(prox_value<100)
		HAL_GPIO_TogglePin(LED2_GPIO_Port,LED2_Pin);

	if(sv->updated_second==0)
		sv->updated_second=1;

	osSemaphoreRelease(sv->mutex);

}

void Proximity_Test(void *arguments)
{

  printf("\n*************************************************************\n");
  printf("\n********************** Proximity Test ************************\n");
  printf("\n*************************************************************\n\n");

  while(1)
  {
	  	  update_Proximity(&sharedValues);
	  	  HAL_Delay(1000);
  }

}

//controlla se il tasto è stato acquisito e nel caso positivo stampa su seriale il valore di rugiada calcolato
void printDewpoint(struct sharedValues_t *sv){
	int dewpoint=-1;
	char msg_d[30] = "";
	float hum_f,temp_f;

	osSemaphoreAcquire(sv->mutex, portMAX_DELAY);

	hum_f = sv->humidity_val1;
	temp_f = sv->temperature_val1;
	dewpoint = (pow(hum_f/100, 0.125)*(112+temp_f*0.9)+(0.1*temp_f)-112);
	sv->dewpoint=dewpoint;

	if(sv->enableDew==1){

		snprintf(msg_d,30," DEWPOINT = %d °C\n\r", dewpoint);
		HAL_UART_Transmit(&huart1, (uint8_t*) msg_d, sizeof(msg_d), 1000);
		sv->enableDew=0;
	}
	osSemaphoreRelease(sv->mutex);

}

void StartDewpointTask(void *arguments){
	/*USER CODE BEGIN StartDewpointTask*/
	/* Infinite loop */
	for(;;)
	{
		printDewpoint(&sharedValues);
		 osDelay(1000);
	}
	/* USER CODE END StartDewpointTask */
}

//Faccio statistiche sui dati campionati dagli altri thread
void computeAndUpdate(struct sharedValues_t *sv){
	int i;

	osSemaphoreAcquire(sv->mutex, portMAX_DELAY);
	if(sv->n_elements_temp==5){
		sv->average_temerature=0;
		for(i=0;i<5;i++){
			sv->average_temerature = sv->average_temerature + sv->array_temp[i];
		}

		sv->average_temerature = sv->average_temerature / 5;
		sv->check_mean_temp=1;
	}

	if(sv->n_elements_pressure==5){
		sv->average_pressure=0;
		for(i=0;i<5;i++){
			sv->average_pressure = sv->average_pressure + sv->array_pressure[i];
		}
		sv->average_pressure = sv->average_pressure / 5;
		sv->check_mean_pressure=1;
	}

	if(sv->n_elements_humidity==5){
		sv->average_humidity=0;
		for(i=0;i<5;i++){
			sv->average_humidity = sv->average_humidity + sv->array_humidity[i];
		}
		sv->average_humidity = sv->average_humidity / 5;
		sv->check_mean_humidity=1;
	}

	osSemaphoreRelease(sv->mutex);

}

void ComputeStatistics(void *arguments){

	for(;;){
		computeAndUpdate(&sharedValues);

		osDelay(1000);
	}
}

//stampa valori sulla seriale (quando disponibili stampa anche i valori statistici)
void checkAndPrint(struct sharedValues_t *sv){

	osSemaphoreAcquire(sv->mutex, portMAX_DELAY);

	char msgm1[100] = "";
	char msgm2[100] = "";
	char msgm3[100] = "";
	char msg1[100] = "";
	char msg2[100] = "";
	char msg3[100] = "";
	char msg4[100] = "";

	float separa;
	int val1,val2;

	if(sv->updated_first==1 && sv->updated_second==1){
		snprintf(msg1,100,"Temperature = %d.%02d °C\n\r", sv->temperature_val1, sv->temperature_val2);
		HAL_UART_Transmit(&huart1, (uint8_t*) msg1, sizeof(msg1), 1000);

		snprintf(msg2,100,"Relative Humidity = %d.%02d %%\n\r", sv->humidity_val1, sv->humidity_val2);
		HAL_UART_Transmit(&huart1, (uint8_t*) msg2, sizeof(msg2), 1000);

		snprintf(msg3,100,"Pressure = %d.%02d hPa\n\r", sv->pressure_val1, sv->pressure_val2);
		HAL_UART_Transmit(&huart1, (uint8_t*) msg3, sizeof(msg3), 1000);

		snprintf(msg4,100,"Distance = %d mm\n\r", sv->proximity);
		HAL_UART_Transmit(&huart1, (uint8_t*) msg4, sizeof(msg4), 1000);

		//statistical values
		if(sv->n_elements_temp==5 && sv->check_mean_temp==1 ){
			val1 = sv->average_temerature;
			separa = sv->average_temerature - val1;
			val2 = trunc(separa * 100);
			snprintf(msgm1,100,"Average Temperature = %d.%02d °C\n\r", val1, val2);
			HAL_UART_Transmit(&huart1, (uint8_t*) msgm1, sizeof(msgm1), 1000);

			sv->n_elements_temp=0;
			sv->check_mean_temp=0;
		}

		if(sv->n_elements_humidity==5 && sv->check_mean_humidity==1){
			val1 = sv->average_humidity;
			separa = sv->average_humidity - val1;
			val2 = trunc(separa * 100);
			snprintf(msgm2,100,"Average Humidity = %d.%02d %%\n\r", val1, val2);
			HAL_UART_Transmit(&huart1, (uint8_t*) msgm2, sizeof(msgm2), 1000);

			sv->n_elements_humidity=0;
			sv->check_mean_humidity=0;
		}

		if(sv->n_elements_pressure==5 && sv->check_mean_pressure==1){
			val1 = sv->average_pressure;
			separa = sv->average_pressure - val1;
			val2 = trunc(separa * 100);
			snprintf(msgm3,100,"Average Pressure = %d.%02d hPa\n\r", val1, val2);
			HAL_UART_Transmit(&huart1, (uint8_t*) msgm3, sizeof(msgm3), 1000);

			sv->n_elements_pressure=0;
			sv->check_mean_pressure=0;
		}
	}
	osSemaphoreRelease(sv->mutex);
}

void SerialPrint(void *arguments){

	for(;;){

		checkAndPrint(&sharedValues);
		osDelay(2000);
	}
}

void Error_Handler(void)
{
}

void HAL_GPIO_EXTI_Callback(uint16_t GPIO_Pin)
{
  switch (GPIO_Pin)
  {
    case (GPIO_PIN_1):
    {
      SPI_WIFI_ISR();
      break;
    }
    case (BUTTON_EXTI13_Pin):
    {
    	if (HAL_GPIO_ReadPin(BUTTON_EXTI13_GPIO_Port, BUTTON_EXTI13_Pin) != GPIO_PIN_SET){
    		sharedValues.enableDew=1;
    	}
    }

    default:
    {
      break;
    }
  }
}

void SPI3_IRQHandler(void)
{
  HAL_SPI_IRQHandler(&hspi);
}
/************************ (C) COPYRIGHT STMicroelectronics *****END OF FILE****/

/************************ (C) COPYRIGHT STMicroelectronics *****END OF FILE****/
